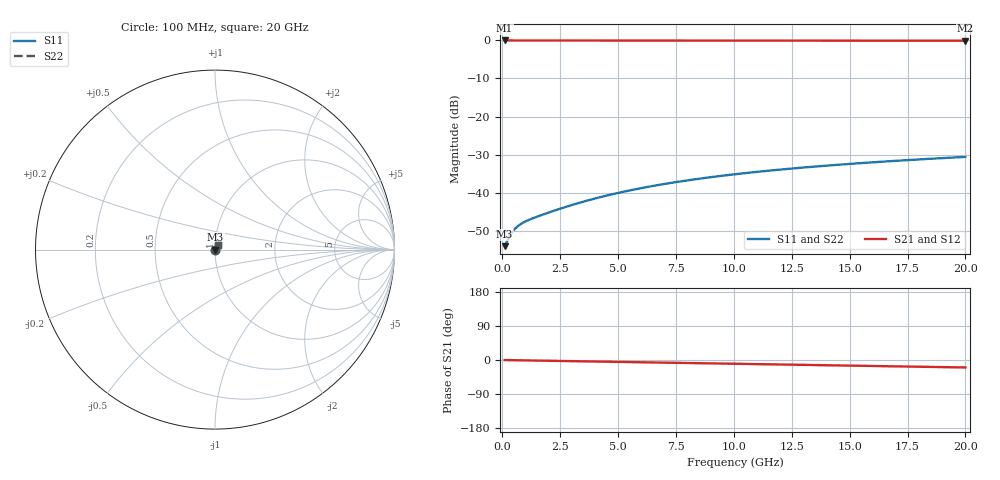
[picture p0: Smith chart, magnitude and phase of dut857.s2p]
! Touchstone file exported from HFSS 2026.1.0
!  File:  C:/ffzhzh/LocalFiles/Ansys_Project_Files/temp_train_TMRDL_857_1783157079_18472.aedt
!  Generated:  05:25:48 PM Jul  4, 2026
!  Design:  TMRDL
!  Project:  temp_train_TMRDL_857_1783157079_18472
! Variables:
!  h_bsmrdl = 2um
!  h_ox = 20um
!  h_rdl = 5um
!  h_sub = 80um
!  h_tmrdl = 2.62um
!  h_tsv = 80um
!  h_via = 3um
!  l_bsmrdl = 300um
!  l_sub = 734.08um
!  l_tmrdl = 334.08um
!  m_sub = 200um
!  pitch = 34.47um
!  r_tsv = 6um
!  s_tmrdl = 10um
!  w_bsmrdl = 18um
!  w_sub = 500um
!  w_tmrdl = 29.61um
!  x_tsv_center1 = 348.885um
!  x_tsv_center2 = 666.885um
!  x_tsv_center3 = 1030.575um
!  x_tsv_center4 = 1348.575um
!  x_tsv_center5 = 1712.265um
!  x_tsv_center6 = 2030.265um
# GHz S MA R 50.000000
! Terminal data exported
! Port[1] = TM_RDL1_1_T1
! Port[2] = TM_RDL1_1_T2
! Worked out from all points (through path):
!   200 points, 100 MHz to 20 GHz, reference 50 ohm
!   highest |S21| = -0.02 dB at 100 MHz (marker M1); lowest = -0.1 dB at 20 GHz (marker M2)
!   group delay of S21, straight-line fit = 2.73 ps
!   lowest |S11| = -54.1 dB at 100 MHz (marker M3), VSWR 1.00, Z = 50.2 + j0.05 ohm
!   |S11| at or under -10 dB: start of sweep to end of sweep
!   |S22| runs from -54.1 to -30.6 dB; largest |S21 - S12| = 9.3e-15
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0.1  0.001981 14.6  0.9981 -0.1  0.9981 -0.1  0.001981 14.6
! Gamma 0 0 0 0
! Port Impedance 50 0 50 0
0.3  0.002614 30.1  0.9977 -0.3  0.9977 -0.3  0.002615 30.1
0.4  0.002945 32.9  0.9975 -0.5  0.9975 -0.5  0.002946 32.9
0.5  0.003234 34.4  0.9973 -0.6  0.9973 -0.6  0.003236 34.4
0.6  0.003481 35.3  0.9971 -0.7  0.9971 -0.7  0.003482 35.3
0.7  0.003692 36.0  0.997 -0.8  0.997 -0.8  0.003693 36.0
0.9  0.004037 37.3  0.9968 -0.9  0.9968 -0.9  0.004038 37.3
1.3  0.004584 40.4  0.9966 -1.3  0.9966 -1.3  0.004585 40.4
1.9  0.005347 45.4  0.9964 -1.9  0.9964 -1.9  0.005347 45.3
2.7  0.006437 50.8  0.9962 -2.7  0.9962 -2.7  0.006437 50.8
3.5  0.007612 54.6  0.996 -3.5  0.996 -3.5  0.007612 54.6
4.3  0.008835 57.0  0.9957 -4.3  0.9957 -4.3  0.008834 57.0
5.1  0.01008 58.4  0.9955 -5.1  0.9955 -5.1  0.01008 58.4
5.9  0.01132 59.2  0.9952 -5.9  0.9952 -5.9  0.01132 59.2
6.8  0.0127 59.6  0.9948 -6.8  0.9948 -6.8  0.0127 59.6
8.4  0.01509 59.4  0.9942 -8.4  0.9942 -8.4  0.01509 59.5
10.1  0.01752 58.6  0.9935 -10.1  0.9935 -10.1  0.01752 58.7
11.7  0.01969 57.6  0.9928 -11.7  0.9928 -11.7  0.01969 57.6
13.4  0.02189 56.3  0.9921 -13.3  0.9921 -13.3  0.02188 56.3
15  0.02386 55.0  0.9915 -14.9  0.9915 -14.9  0.02384 55.0
16.7  0.02585 53.6  0.9908 -16.5  0.9908 -16.5  0.02584 53.7
20  0.0295 50.9  0.9897 -19.7  0.9897 -19.7  0.02948 51.0
